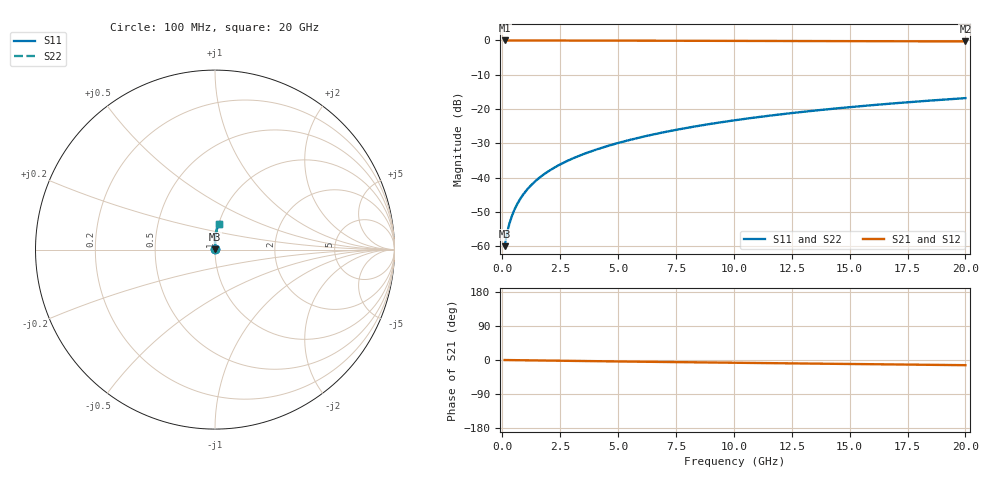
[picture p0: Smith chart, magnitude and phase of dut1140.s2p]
! Touchstone file exported from HFSS 2024.1.0
!  File:  C:/UserFiles/LocalFiles/RDL_TSV_Batchsim/temp_RDL_bottom_1140_1780055627.aedt
!  Generated:  07:55:59 PM May 29, 2026
!  Design:  RDL_bottom
!  Project:  temp_RDL_bottom_1140_1780055627
!  Setup:  Setup1
!  Solution:  Sweep
! Variables:
!  dtsv = 10.80580581um
!  hbump = 3um
!  htsv = 60.15um
!  ldown = 177.93um
!  lrdl = 100um
!  p = 40
!  p1 = 46.81um
!  rhole = 1um
!  t = 450um
!  tdown = 4.88um
!  trdl = 3.915915916um
!  wdown = 22.28um
!  wrdl = 20um
# GHz S MA R 50.000000
! Terminal data exported
! Port[1] = RDL1_T1
! Port[2] = RDL1_T2
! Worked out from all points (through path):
!   200 points, 100 MHz to 20 GHz, reference 50 ohm
!   highest |S21| = -0.01 dB at 100 MHz (marker M1); lowest = -0.3 dB at 20 GHz (marker M2)
!   group delay of S21, straight-line fit = 1.88 ps
!   lowest |S11| = -60.0 dB at 100 MHz (marker M3), VSWR 1.00, Z = 50.1 + j0.068 ohm
!   |S11| at or under -10 dB: start of sweep to end of sweep
!   |S22| runs from -60.0 to -16.8 dB; largest |S21 - S12| = 3e-15
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0.1  0.001004 42.5  0.9993 -0.1  0.9993 -0.1  0.001004 42.5
! Gamma 0 0 0 0
! Port Impedance 50 0 50 0
0.2  0.001535 59.3  0.9992 -0.2  0.9992 -0.2  0.001535 59.3
0.3  0.002101 67.1  0.9991 -0.2  0.9991 -0.2  0.002101 67.1
0.4  0.002678 71.9  0.9991 -0.3  0.9991 -0.3  0.002678 71.9
0.5  0.003264 75.0  0.9991 -0.4  0.9991 -0.4  0.003264 75.0
0.6  0.003858 77.3  0.999 -0.5  0.999 -0.5  0.003858 77.3
0.8  0.005059 80.4  0.9989 -0.6  0.9989 -0.6  0.005059 80.4
1.1  0.006885 83.2  0.9987 -0.9  0.9987 -0.9  0.006885 83.2
1.5  0.009345 85.3  0.9985 -1.2  0.9985 -1.2  0.009345 85.3
1.8  0.01121 86.3  0.9982 -1.4  0.9982 -1.4  0.01121 86.3
2.1  0.01308 87.1  0.9979 -1.7  0.9979 -1.7  0.01308 87.1
2.7  0.01687 88.2  0.9972 -2.1  0.9972 -2.1  0.01687 88.2
3.5  0.02201 89.2  0.9961 -2.7  0.9961 -2.7  0.02201 89.2
4.2  0.02662 89.8  0.9949 -3.3  0.9949 -3.3  0.02662 89.8
5  0.03202 90.2  0.9935 -3.8  0.9935 -3.8  0.03201 90.2
6.8  0.04465 90.3  0.9902 -5.1  0.9902 -5.1  0.04465 90.3
8.4  0.05636 89.9  0.9873 -6.2  0.9873 -6.2  0.05636 89.9
10.1  0.06912 89.1  0.9842 -7.3  0.9842 -7.3  0.06912 89.1
11.7  0.0813 88.1  0.9814 -8.4  0.9814 -8.4  0.0813 88.1
13.4  0.0943 86.8  0.9786 -9.5  0.9786 -9.5  0.0943 86.8
16.7  0.1195 84.3  0.9732 -11.6  0.9732 -11.6  0.1195 84.3
20  0.1443 81.7  0.9678 -13.7  0.9678 -13.7  0.1443 81.7
